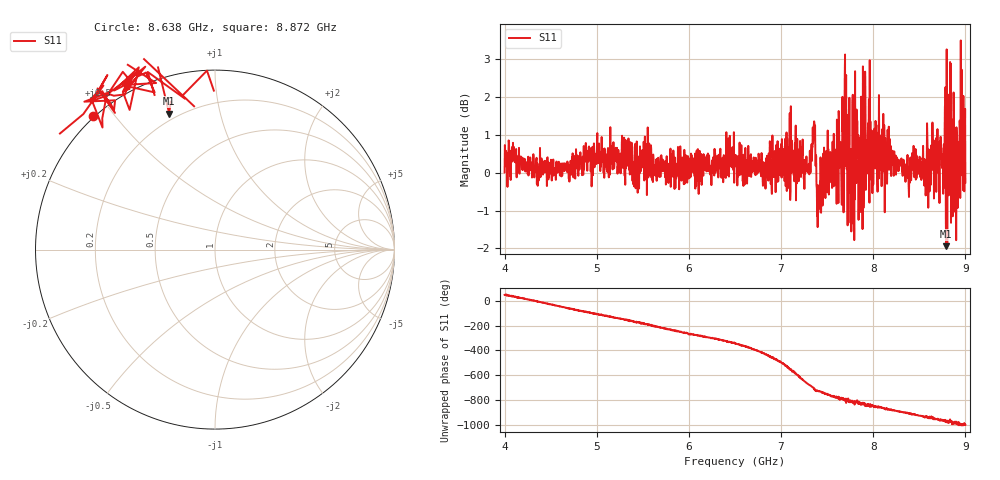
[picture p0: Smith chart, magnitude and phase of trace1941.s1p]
! Created with skrf 1.8.0 (http://scikit-rf.org).
# Hz S RI R 50.0
!freq ReS11 ImS11
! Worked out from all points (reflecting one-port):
!   1601 points, 4 GHz to 9 GHz, reference 50 ohm
!   lowest |S11| = -1.9 dB at 8.791 GHz (marker M1), VSWR 8.99, Z = 8.38 + j35.3 ohm
!   phase of S11 starts at 48 deg and turns -1048 deg over the sweep
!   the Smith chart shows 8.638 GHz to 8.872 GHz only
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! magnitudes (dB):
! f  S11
! 4 GHz  0.0
! 4.1 GHz  0.7
! 4.625 GHz  -0.1
! 5.25 GHz  0.0
! 5.875 GHz  -0.1
! 6.5 GHz  0.3
! 6.809 GHz  0.3
! 7.125 GHz  0.6
! 7.272 GHz  0.1
! 7.356 GHz  1.3
! 7.412 GHz  -0.8
! 7.481 GHz  -0.7
! 7.638 GHz  0.2
! 7.688 GHz  1.4
! 7.75 GHz  0.2
! 7.769 GHz  -0.2
! 7.828 GHz  1.4
! 7.859 GHz  0.9
! 7.928 GHz  0.8
! 7.981 GHz  -0.2
! 8.153 GHz  0.3
! 8.375 GHz  0.1
! 8.769 GHz  0.4
! 8.791 GHz  -1.9
! 8.822 GHz  1.3
! 8.869 GHz  -1.1
! 8.972 GHz  0.3
! 9 GHz  -0.3
